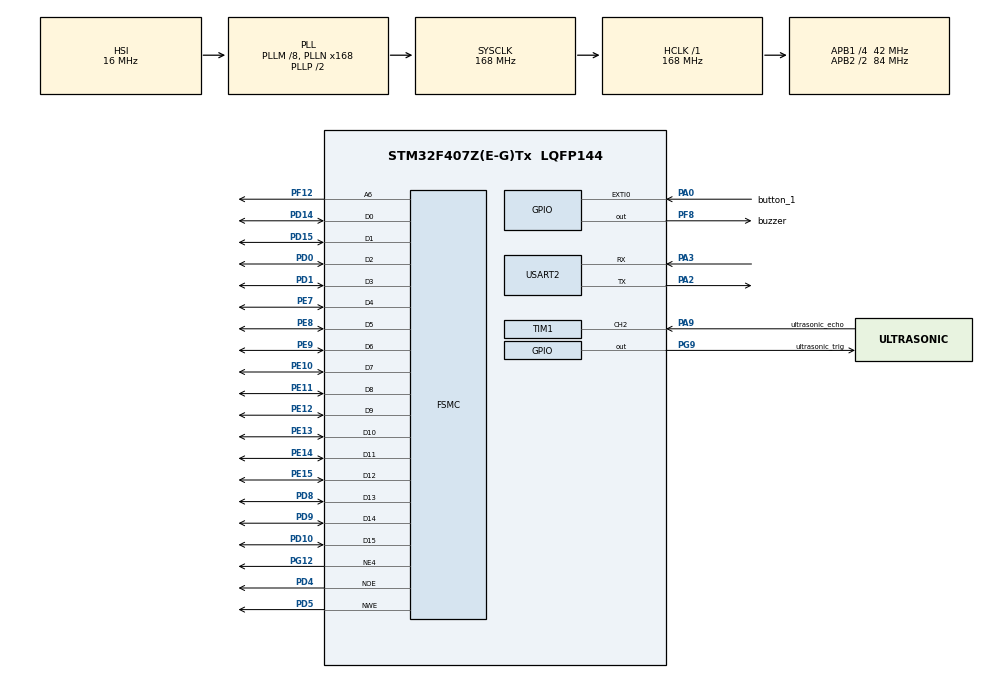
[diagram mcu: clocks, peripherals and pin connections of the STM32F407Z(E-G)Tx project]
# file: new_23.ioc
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FREERTOS.Queues01=q_input_to_lcd,5,uint32_t,0,Dynamic,NULL,NULL;q_lcd_to_output,5,uint32_t,0,Dynamic,NULL,NULL;q_output_to_input,5,uint32_t,0,Dynamic,NULL,NULL
FREERTOS.Tasks01=t_big_lcd,24,128,start_t_big_lcd,Default,NULL,Dynamic,NULL,NULL;t_input,32,128,start_t_input,Default,NULL,Dynamic,NULL,NULL;t_output,24,128,start_t_output,Default,NULL,Dynamic,NULL,NULL
FSMC.AddressSetupTime4=2
FSMC.BusTurnAroundDuration4=0
FSMC.DataSetupTime4=16
FSMC.ExtendedAddressSetupTime4=4
FSMC.ExtendedBusTurnAroundDuration4=0
FSMC.ExtendedDataSetupTime4=9
FSMC.ExtendedMode4=FSMC_EXTENDED_MODE_ENABLE
Mcu.Family=STM32F4
Mcu.Name=STM32F407Z(E-G)Tx
Mcu.Package=LQFP144
NVIC.EXTI0_IRQn=true\:5\:0\:false\:false\:true\:true\:true\:true\:true
NVIC.PriorityGroup=NVIC_PRIORITYGROUP_4
NVIC.RCC_IRQn=true\:5\:0\:false\:false\:true\:true\:true\:false\:true
NVIC.TIM1_CC_IRQn=true\:5\:0\:false\:false\:true\:true\:true\:true\:true
NVIC.TIM1_UP_TIM10_IRQn=true\:5\:0\:false\:false\:true\:false\:false\:true\:true
NVIC.TimeBase=TIM1_UP_TIM10_IRQn
NVIC.TimeBaseIP=TIM10
NVIC.USART2_IRQn=true\:5\:0\:false\:false\:true\:true\:true\:true\:true
PA0-WKUP.GPIO_Label=button_1
PA0-WKUP.GPIO_ModeDefaultEXTI=GPIO_MODE_IT_RISING
PA0-WKUP.Signal=GPXTI0
PA13.Mode=Serial_Wire
PA13.Signal=SYS_JTMS-SWDIO
PA14.Mode=Serial_Wire
PA14.Signal=SYS_JTCK-SWCLK
PA2.Mode=Asynchronous
PA2.Signal=USART2_TX
PA3.Mode=Asynchronous
PA3.Signal=USART2_RX
PA9.GPIO_Label=ultrasonic_echo
PA9.GPIO_Speed=GPIO_SPEED_FREQ_VERY_HIGH
PA9.Signal=S_TIM1_CH2
PC14-OSC32_IN.Mode=LSE-External-Oscillator
PC14-OSC32_IN.Signal=RCC_OSC32_IN
PC15-OSC32_OUT.Mode=LSE-External-Oscillator
PC15-OSC32_OUT.Signal=RCC_OSC32_OUT
PD0.Signal=FSMC_D2_DA2
PD1.Signal=FSMC_D3_DA3
PD10.Signal=FSMC_D15_DA15
PD14.Signal=FSMC_D0_DA0
PD15.Signal=FSMC_D1_DA1
PD4.Signal=FSMC_NOE
PD5.Signal=FSMC_NWE
PD8.Signal=FSMC_D13_DA13
PD9.Signal=FSMC_D14_DA14
PE10.Signal=FSMC_D7_DA7
PE11.Signal=FSMC_D8_DA8
PE12.Signal=FSMC_D9_DA9
PE13.Signal=FSMC_D10_DA10
PE14.Signal=FSMC_D11_DA11
PE15.Signal=FSMC_D12_DA12
PE7.Signal=FSMC_D4_DA4
PE8.Signal=FSMC_D5_DA5
PE9.Signal=FSMC_D6_DA6
PF12.Signal=FSMC_A6
PF8.GPIO_Label=buzzer
PF8.GPIO_Speed=GPIO_SPEED_FREQ_VERY_HIGH
PF8.PinState=GPIO_PIN_SET
PF8.Signal=GPIO_Output
PG12.Mode=NorPsramChipSelect4_4
PG12.Signal=FSMC_NE4
PG9.GPIO_Label=ultrasonic_trig
PG9.GPIO_Speed=GPIO_SPEED_FREQ_VERY_HIGH
PG9.PinState=GPIO_PIN_RESET
PG9.Signal=GPIO_Output
PH0-OSC_IN.Mode=HSE-External-Oscillator
PH0-OSC_IN.Signal=RCC_OSC_IN
PH1-OSC_OUT.Mode=HSE-External-Oscillator
PH1-OSC_OUT.Signal=RCC_OSC_OUT
ProjectManager.HeapSize=0x200
ProjectManager.StackSize=0x400
ProjectManager.TargetToolchain=STM32CubeIDE
RCC.48MHZClocksFreq_Value=84000000
RCC.AHBFreq_Value=168000000
RCC.APB1CLKDivider=RCC_HCLK_DIV4
RCC.APB1Freq_Value=42000000
RCC.APB1TimFreq_Value=84000000
RCC.APB2CLKDivider=RCC_HCLK_DIV2
RCC.APB2Freq_Value=84000000
RCC.APB2TimFreq_Value=168000000
RCC.CortexFreq_Value=168000000
RCC.HCLKFreq_Value=168000000
RCC.HSE_VALUE=8000000
RCC.HSI_VALUE=16000000
RCC.PLLM=8
RCC.PLLN=168
RCC.RCC_RTC_Clock_Source=RCC_RTCCLKSOURCE_LSE
RCC.RCC_RTC_Clock_SourceVirtual=RCC_RTCCLKSOURCE_LSE
RCC.SYSCLKFreq_VALUE=168000000
RCC.SYSCLKSource=RCC_SYSCLKSOURCE_PLLCLK
RCC.VCOOutputFreq_Value=336000000
SH.FSMC_A6.0=FSMC_A6,A6_4
SH.FSMC_D0_DA0.0=FSMC_D0,16b-d4
SH.FSMC_D10_DA10.0=FSMC_D10,16b-d4
SH.FSMC_D11_DA11.0=FSMC_D11,16b-d4
SH.FSMC_D12_DA12.0=FSMC_D12,16b-d4
SH.FSMC_D13_DA13.0=FSMC_D13,16b-d4
SH.FSMC_D14_DA14.0=FSMC_D14,16b-d4
SH.FSMC_D15_DA15.0=FSMC_D15,16b-d4
SH.FSMC_D1_DA1.0=FSMC_D1,16b-d4
SH.FSMC_D2_DA2.0=FSMC_D2,16b-d4
SH.FSMC_D3_DA3.0=FSMC_D3,16b-d4
SH.FSMC_D4_DA4.0=FSMC_D4,16b-d4
SH.FSMC_D5_DA5.0=FSMC_D5,16b-d4
SH.FSMC_D6_DA6.0=FSMC_D6,16b-d4
SH.FSMC_D7_DA7.0=FSMC_D7,16b-d4
SH.FSMC_D8_DA8.0=FSMC_D8,16b-d4
SH.FSMC_D9_DA9.0=FSMC_D9,16b-d4
SH.FSMC_NOE.0=FSMC_NOE,Lcd4
SH.FSMC_NWE.0=FSMC_NWE,Lcd4
SH.S_TIM1_CH2.0=TIM1_CH2,Input_Capture2_from_TI2
TIM1.Channel-Input_Capture1_from_TI2_63=TIM_CHANNEL_1
TIM1.Channel-Input_Capture2_from_TI2=TIM_CHANNEL_2
TIM1.ICPolarity_CH2=TIM_INPUTCHANNELPOLARITY_FALLING
TIM1.Prescaler=99
USART2.VirtualMode=VM_ASYNC
VP_FREERTOS_VS_CMSIS_V2.Mode=CMSIS_V2
VP_SYS_VS_tim10.Mode=TIM10
VP_TIM1_VS_ClockSourceINT.Mode=Internal
VP_TIM1_VS_indirect_ch2.Mode=Input_Capture1_from_TI2_63
board=custom

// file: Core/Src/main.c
/* USER CODE BEGIN Header */
/**
  ******************************************************************************
  * @file           : main.c
  * @brief          : Main program body
  ******************************************************************************
  * @attention
  *
  * Copyright (c) 2024 STMicroelectronics.
  * All rights reserved.
  *
  * This software is licensed under terms that can be found in the LICENSE file
  * in the root directory of this software component.
  * If no LICENSE file comes with this software, it is provided AS-IS.
  *
  ******************************************************************************
  */
/* USER CODE END Header */
#include "main.h"
#include "cmsis_os.h"
#include "tim.h"
#include "usart.h"
#include "gpio.h"
#include "fsmc.h"

void SystemClock_Config(void);
void MX_FREERTOS_Init(void);

int main(void)
{

  /* MCU Configuration--------------------------------------------------------*/

  /* Reset of all peripherals, Initializes the Flash interface and the Systick. */
  HAL_Init();

  /* Configure the system clock */
  SystemClock_Config();

  /* Initialize all configured peripherals */
  MX_GPIO_Init();
  MX_FSMC_Init();
  MX_USART2_UART_Init();
  MX_TIM1_Init();

  /* Init scheduler */
  osKernelInitialize();

  /* Call init function for freertos objects (in cmsis_os2.c) */
  MX_FREERTOS_Init();

  /* Start scheduler */
  osKernelStart();

  /* We should never get here as control is now taken by the scheduler */

  /* Infinite loop */
  while (1)
  {

  }
}

void SystemClock_Config(void)
{
  RCC_OscInitTypeDef RCC_OscInitStruct = {0};
  RCC_ClkInitTypeDef RCC_ClkInitStruct = {0};

  /** Configure the main internal regulator output voltage
  */
  __HAL_RCC_PWR_CLK_ENABLE();
  __HAL_PWR_VOLTAGESCALING_CONFIG(PWR_REGULATOR_VOLTAGE_SCALE1);

  /** Initializes the RCC Oscillators according to the specified parameters
  * in the RCC_OscInitTypeDef structure.
  */
  RCC_OscInitStruct.OscillatorType = RCC_OSCILLATORTYPE_HSI;
  RCC_OscInitStruct.HSIState = RCC_HSI_ON;
  RCC_OscInitStruct.HSICalibrationValue = RCC_HSICALIBRATION_DEFAULT;
  RCC_OscInitStruct.PLL.PLLState = RCC_PLL_ON;
  RCC_OscInitStruct.PLL.PLLSource = RCC_PLLSOURCE_HSI;
  RCC_OscInitStruct.PLL.PLLM = 8;
  RCC_OscInitStruct.PLL.PLLN = 168;
  RCC_OscInitStruct.PLL.PLLP = RCC_PLLP_DIV2;
  RCC_OscInitStruct.PLL.PLLQ = 4;
  if (HAL_RCC_OscConfig(&RCC_OscInitStruct) != HAL_OK)
  {
    Error_Handler();
  }

  /** Initializes the CPU, AHB and APB buses clocks
  */
  RCC_ClkInitStruct.ClockType = RCC_CLOCKTYPE_HCLK|RCC_CLOCKTYPE_SYSCLK
                              |RCC_CLOCKTYPE_PCLK1|RCC_CLOCKTYPE_PCLK2;
  RCC_ClkInitStruct.SYSCLKSource = RCC_SYSCLKSOURCE_PLLCLK;
  RCC_ClkInitStruct.AHBCLKDivider = RCC_SYSCLK_DIV1;
  RCC_ClkInitStruct.APB1CLKDivider = RCC_HCLK_DIV4;
  RCC_ClkInitStruct.APB2CLKDivider = RCC_HCLK_DIV2;

  if (HAL_RCC_ClockConfig(&RCC_ClkInitStruct, FLASH_LATENCY_5) != HAL_OK)
  {
    Error_Handler();
  }
}

void HAL_TIM_PeriodElapsedCallback(TIM_HandleTypeDef *htim)
{
  if (htim->Instance == TIM10) {
    HAL_IncTick();
  }
}

void Error_Handler(void)
{
  __disable_irq();
  while (1)
  {
  }
}

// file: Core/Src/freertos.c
/* USER CODE BEGIN Header */
/**
  ******************************************************************************
  * File Name          : freertos.c
  * Description        : Code for freertos applications
  ******************************************************************************
  * @attention
  *
  * Copyright (c) 2024 STMicroelectronics.
  * All rights reserved.
  *
  * This software is licensed under terms that can be found in the LICENSE file
  * in the root directory of this software component.
  * If no LICENSE file comes with this software, it is provided AS-IS.
  *
  ******************************************************************************
  */
/* USER CODE END Header */

#include "FreeRTOS.h"
#include "task.h"
#include "main.h"
#include "cmsis_os.h"

/* USER CODE BEGIN Includes */
#include "self.h"
/* USER CODE END Includes */

/* Definitions for t_big_lcd */
osThreadId_t t_big_lcdHandle;
const osThreadAttr_t t_big_lcd_attributes = {
  .name = "t_big_lcd",
  .stack_size = 128 * 4,
  .priority = (osPriority_t) osPriorityNormal,
};
/* Definitions for t_input */
osThreadId_t t_inputHandle;
const osThreadAttr_t t_input_attributes = {
  .name = "t_input",
  .stack_size = 128 * 4,
  .priority = (osPriority_t) osPriorityAboveNormal,
};
/* Definitions for t_output */
osThreadId_t t_outputHandle;
const osThreadAttr_t t_output_attributes = {
  .name = "t_output",
  .stack_size = 128 * 4,
  .priority = (osPriority_t) osPriorityNormal,
};
/* Definitions for q_input_to_lcd */
osMessageQueueId_t q_input_to_lcdHandle;
const osMessageQueueAttr_t q_input_to_lcd_attributes = {
  .name = "q_input_to_lcd"
};
/* Definitions for q_lcd_to_output */
osMessageQueueId_t q_lcd_to_outputHandle;
const osMessageQueueAttr_t q_lcd_to_output_attributes = {
  .name = "q_lcd_to_output"
};
/* Definitions for q_output_to_input */
osMessageQueueId_t q_output_to_inputHandle;
const osMessageQueueAttr_t q_output_to_input_attributes = {
  .name = "q_output_to_input"
};

void start_t_big_lcd(void *argument);
void start_t_input(void *argument);
void start_t_output(void *argument);

void MX_FREERTOS_Init(void); /* (MISRA C 2004 rule 8.1) */

void MX_FREERTOS_Init(void) {

  /* Create the queue(s) */
  /* creation of q_input_to_lcd */
  q_input_to_lcdHandle = osMessageQueueNew (5, sizeof(uint32_t), &q_input_to_lcd_attributes);

  /* creation of q_lcd_to_output */
  q_lcd_to_outputHandle = osMessageQueueNew (5, sizeof(uint32_t), &q_lcd_to_output_attributes);

  /* creation of q_output_to_input */
  q_output_to_inputHandle = osMessageQueueNew (5, sizeof(uint32_t), &q_output_to_input_attributes);

  /* Create the thread(s) */
  /* creation of t_big_lcd */
  t_big_lcdHandle = osThreadNew(start_t_big_lcd, NULL, &t_big_lcd_attributes);

  /* creation of t_input */
  t_inputHandle = osThreadNew(start_t_input, NULL, &t_input_attributes);

  /* creation of t_output */
  t_outputHandle = osThreadNew(start_t_output, NULL, &t_output_attributes);

}

void start_t_big_lcd(void *argument)
{
  /* USER CODE BEGIN start_t_big_lcd */
  char on_screen[50], end[] = ". \r\n";
  extern double distance;
  uint8_t send_to_output = 0;

   FRONT_COLOR = GREEN;
   BACK_COLOR = BLACK;
   TFTLCD_Init();
   LCD_Clear(BLACK);
   LCD_ShowString(10,10,tftlcd_data.width,tftlcd_data.height,24,(uint8_t *)"Distance mesurement: \n");
   /* Infinite loop */
   for(;;)
   {
     sprintf(on_screen, "The distance is %.3f cm%s", distance, end);
     if (distance > 100)
     {
       send_to_output = 0;
     }else if (distance > 50 && distance <=100)
     {
       send_to_output = 1;
     }else if (distance >20 && distance <= 50)
     {
       send_to_output = 2;
     }else
     {
       send_to_output = 3;
     }

     switch(send_to_output)
     {
       case 0:
         break;
       case 1:
         HAL_GPIO_TogglePin(buzzer_GPIO_Port, buzzer_Pin);
         vTaskDelay(pdMS_TO_TICKS(50));
         HAL_GPIO_TogglePin(buzzer_GPIO_Port, buzzer_Pin);
         vTaskDelay(pdMS_TO_TICKS(500));
         break;
       case 2:
         HAL_GPIO_TogglePin(buzzer_GPIO_Port, buzzer_Pin);
         vTaskDelay(pdMS_TO_TICKS(40));
         HAL_GPIO_TogglePin(buzzer_GPIO_Port, buzzer_Pin);
         vTaskDelay(pdMS_TO_TICKS(200));
         break;
       case 3:
         HAL_GPIO_TogglePin(buzzer_GPIO_Port, buzzer_Pin);
         vTaskDelay(pdMS_TO_TICKS(50));
         HAL_GPIO_TogglePin(buzzer_GPIO_Port, buzzer_Pin);
         vTaskDelay(pdMS_TO_TICKS(10));
         break;
       default:
         break;
     }

     LCD_ShowString(10,40,tftlcd_data.width,tftlcd_data.height,24,(uint8_t *)on_screen);
     vTaskDelay(100);
   }
  /* USER CODE END start_t_big_lcd */
}

void start_t_input(void *argument)
{
  /* USER CODE BEGIN start_t_input */
  HAL_TIM_Base_Start(&htim1);
  HAL_TIM_IC_Start(&htim1, TIM_CHANNEL_1);
  HAL_TIM_IC_Start_IT(&htim1, TIM_CHANNEL_2);
  /* Infinite loop */
  for(;;)
  {
    HAL_GPIO_WritePin(ultrasonic_trig_GPIO_Port, ultrasonic_trig_Pin, GPIO_PIN_SET);
    osDelay(pdMS_TO_TICKS(1));
    HAL_GPIO_WritePin(ultrasonic_trig_GPIO_Port, ultrasonic_trig_Pin, GPIO_PIN_RESET);
    __HAL_TIM_SET_COUNTER(&htim1, 0);
    vTaskDelay(100);
  }
  /* USER CODE END start_t_input */
}

void start_t_output(void *argument)
{
  /* USER CODE BEGIN start_t_output */
  /* Infinite loop */
  for(;;)
  {
    vTaskDelay(pdMS_TO_TICKS(200));
  }
  /* USER CODE END start_t_output */
}
